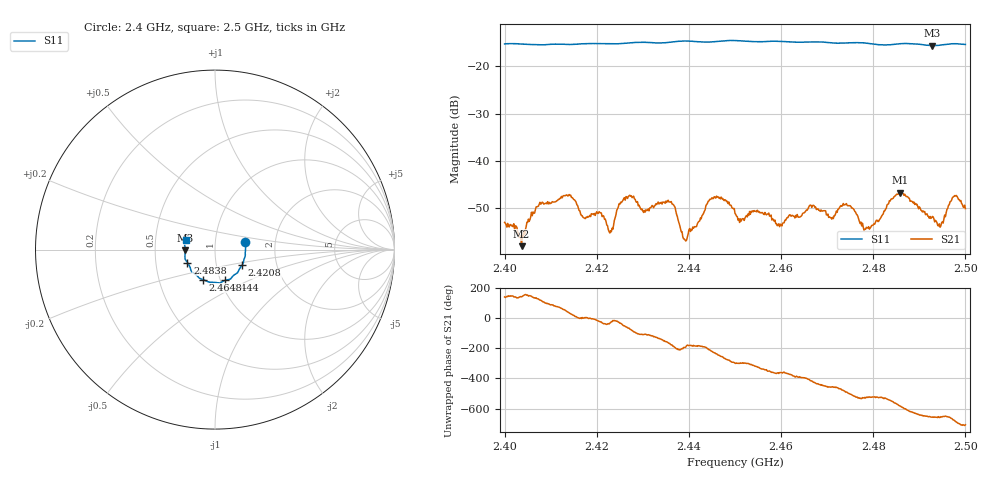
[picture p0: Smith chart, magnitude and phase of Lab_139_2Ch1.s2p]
# Hz S RI R 50
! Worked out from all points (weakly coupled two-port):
!   601 points, 2.4 GHz to 2.5 GHz, reference 50 ohm
!   highest |S21| = -46.71 dB at 2.4858 GHz (marker M1); lowest = -58.1 dB at 2.4037 GHz (marker M2)
!   lowest |S11| = -15.6 dB at 2.4928 GHz (marker M3), VSWR 1.40, Z = 35.8 - j0.357 ohm
!   |S11| at or under -10 dB: start of sweep to end of sweep
!   S12 and S22 are empty: the file has one direction only
!   S11 on the Smith chart (normalised r, x): 2.4 GHz: 1.40, +0.12; 2.4208 GHz: 1.33, -0.24; 2.444 GHz: 1.06, -0.37; 2.4648 GHz: 0.83, -0.29; 2.4838 GHz: 0.73, -0.11; 2.5 GHz: 0.72, +0.08
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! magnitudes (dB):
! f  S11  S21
! 2.4 GHz  -15.3  -53.0
! 2.4037 GHz  -15.3  -58.1
! 2.408 GHz  -15.4  -49.0
! 2.4138 GHz  -15.4  -47.4
! 2.4167 GHz  -15.2  -51.6
! 2.4208 GHz  -15.2  -51.0
! 2.423 GHz  -15.2  -54.8
! 2.4268 GHz  -15.1  -47.6
! 2.4333 GHz  -15.0  -48.7
! 2.4365 GHz  -14.8  -49.2
! 2.4392 GHz  -14.6  -56.7
! 2.444 GHz  -14.9  -49.0
! 2.45 GHz  -14.5  -51.1
! 2.4648 GHz  -14.9  -51.0
! 2.4667 GHz  -14.8  -49.9
! 2.4747 GHz  -15.0  -49.5
! 2.4783 GHz  -15.1  -54.5
! 2.4833 GHz  -15.5  -49.1
! 2.4838 GHz  -15.4  -48.1
! 2.4858 GHz  -15.2  -46.7
! 2.4928 GHz  -15.6  -51.8
! 2.5 GHz  -15.4  -50.1
